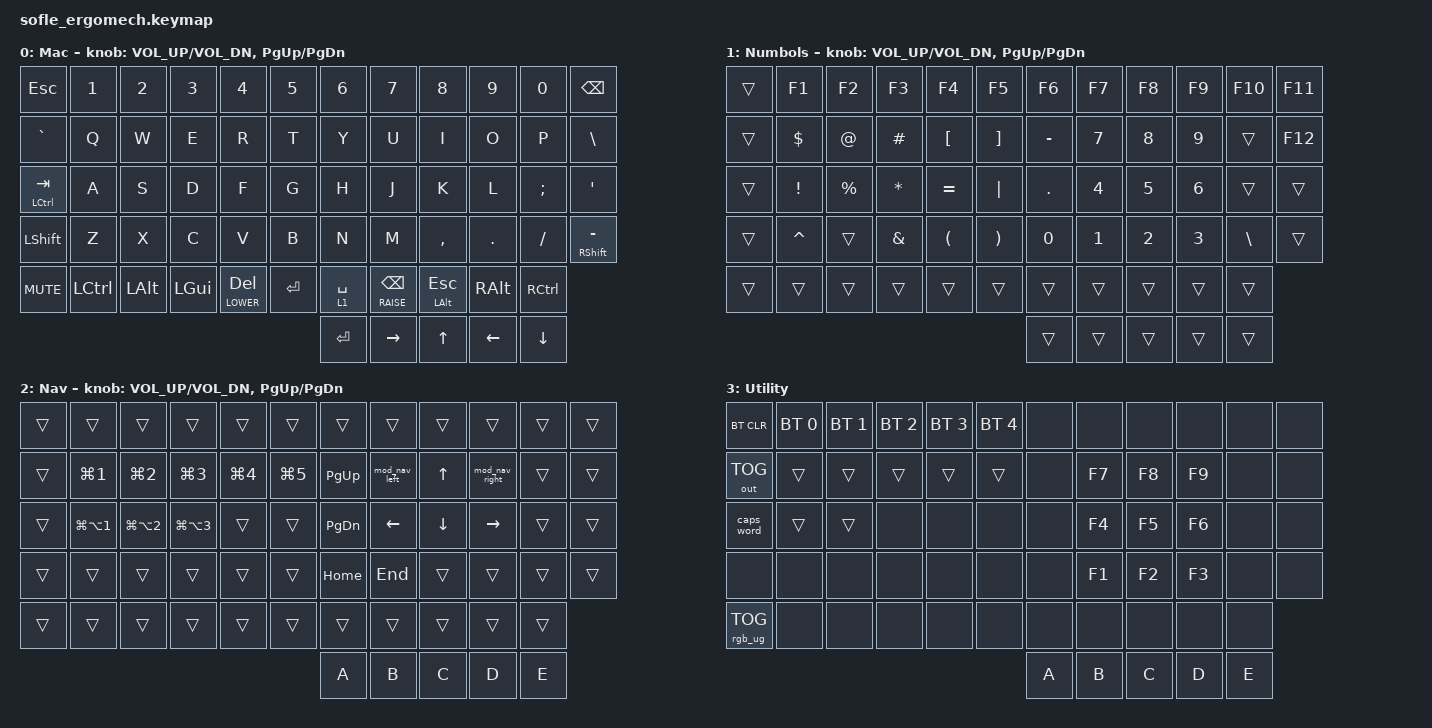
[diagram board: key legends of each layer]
/*
 * Copyright (c) 2020 The ZMK Contributors
 *
 * SPDX-License-Identifier: MIT
 */

#include <behaviors.dtsi>
#include <dt-bindings/zmk/bt.h>
#include <dt-bindings/zmk/keys.h>
#include <dt-bindings/zmk/outputs.h>
#include <dt-bindings/zmk/rgb.h>

#define BASE 0
#define LOWER 1
#define RAISE 2
#define ADJUST 3

/ {
    // Activate ADJUST layer by pressing raise and lower

    conditional_layers {
        compatible = "zmk,conditional-layers";

        adjust_layer {
            if-layers = <LOWER RAISE>;
            then-layer = <ADJUST>;
        };
    };

    behaviors {
        tap_hold: tap_hold {
            compatible = "zmk,behavior-hold-tap";
            label = "TAP_HOLD";
            bindings = <&kp>, <&kp>;

            #binding-cells = <2>;
            tapping-term-ms = <200>;
            flavor = "tap-preferred";
        };

        mod_nav_left: mod_nav_left {
            compatible = "zmk,behavior-mod-morph";
            label = "MOD_NAV_LEFT";
            bindings = <&kp LA(LEFT)>, <&kp LG(LEFT_ARROW)>;

            #binding-cells = <0>;
            mods = <(MOD_LGUI|MOD_RGUI)>;
        };

        mod_nav_right: mod_nav_right {
            compatible = "zmk,behavior-mod-morph";
            label = "MOD_NAV_RIGHT";
            bindings = <&kp LA(RIGHT)>, <&kp LG(RIGHT)>;

            #binding-cells = <0>;
            mods = <(MOD_LGUI|MOD_RGUI)>;
        };

        hold_tap: hold_tap {
            compatible = "zmk,behavior-hold-tap";
            label = "HOLD_TAP";
            bindings = <&kp>, <&kp>;

            #binding-cells = <2>;
            tapping-term-ms = <200>;
        };
    };

    keymap {
        compatible = "zmk,keymap";

        mac {
            label = "Mac";

            // ------------------------------------------------------------------------------------------------------------
            // |   `   |  1  |  2  |  3   |  4   |  5   |                   |  6   |  7    |  8    |  9   |   0   |       |
            // |  ESC  |  Q  |  W  |  E   |  R   |  T   |                   |  Y   |  U    |  I    |  O   |   P   | BKSPC |
            // |  TAB  |  A  |  S  |  D   |  F   |  G   |                   |  H   |  J    |  K    |  L   |   ;   |   '   |
            // | SHIFT |  Z  |  X  |  C   |  V   |  B   |  MUTE  |  |       |  N   |  M    |  ,    |  .   |   /   | SHIFT |
            //               | GUI | ALT  | CTRL | LOWER|  ENTER |  | SPACE | RAISE| CTRL  | ALT   | GUI  |

            bindings = <
&kp ESC                     &kp N1            &kp N2    &kp N3        &kp N4         &kp N5   &kp N6       &kp N7               &kp N8                  &kp N9    &kp N0             &kp BACKSPACE
&kp GRAVE                   &kp Q             &kp W     &kp E         &kp R          &kp T    &kp Y        &kp U                &kp I                   &kp O     &kp P              &kp BACKSLASH
&tap_hold LEFT_CONTROL TAB  &kp A             &kp S     &kp D         &kp F          &kp G    &kp H        &kp J                &kp K                   &kp L     &kp SEMI           &kp SQT
&kp LSHFT                   &kp Z             &kp X     &kp C         &kp V          &kp B    &kp N        &kp M                &kp COMMA               &kp DOT   &kp FSLH           &hold_tap RSHFT MINUS
&kp C_MUTE                  &kp LEFT_CONTROL  &kp LALT  &kp LEFT_GUI  &lt LOWER DEL  &kp RET  &lt 1 SPACE  &lt RAISE BACKSPACE  &tap_hold LEFT_ALT ESC  &kp RALT  &kp RIGHT_CONTROL
                                                                                              &kp ENTER    &kp RIGHT            &kp UP_ARROW            &kp LEFT  &kp DOWN
            >;

            sensor-bindings = <&inc_dec_kp C_VOL_UP C_VOL_DN &inc_dec_kp PG_UP PG_DN>;
        };

        numbols {
            label = "Numbols";

            // TODO: Some binds are waiting for shifted keycode support.
            // ------------------------------------------------------------------------------------------------------------
            // |       |  F1 |  F2 |  F3  |  F4  |  F5  |                   |  F6  |  F7   |  F8   |  F9  |  F10  |  F11  |
            // |   `   |  1  |  2  |  3   |  4   |  5   |                   |  6   |  7    |  8    |  9   |   0   |  F12  |
            // |       |  !  |  @  |  #   |  $   |  %   |                   |  ^   |  &    |  *    |  (   |   )   |   |   |
            // |       |  =  |  -  |  +   |  {   |  }   |        |  |       |  [   |  ]    |  ;    |  :   |   \   |       |
            //               |     |      |      |      |        |  |       |      |       |       |      |

            bindings = <
&trans  &kp F1      &kp F2       &kp F3         &kp F4                &kp F5                 &kp F6      &kp F7  &kp F8  &kp F9  &kp F10   &kp F11
&trans  &kp DOLLAR  &kp AT       &kp POUND      &kp LEFT_BRACKET      &kp RIGHT_BRACKET      &kp MINUS   &kp N7  &kp N8  &kp N9  &trans    &kp F12
&trans  &kp EXCL    &kp PERCENT  &kp ASTRK      &kp EQUAL             &kp PIPE               &kp PERIOD  &kp N4  &kp N5  &kp N6  &trans    &trans
&trans  &kp CARET   &trans       &kp AMPERSAND  &kp LEFT_PARENTHESIS  &kp RIGHT_PARENTHESIS  &kp N0      &kp N1  &kp N2  &kp N3  &kp BSLH  &trans
&trans  &trans      &trans       &trans         &trans                &trans                 &trans      &trans  &trans  &trans  &trans
                                                                                             &trans      &trans  &trans  &trans  &trans
            >;

            sensor-bindings = <&inc_dec_kp C_VOL_UP C_VOL_DN &inc_dec_kp PG_UP PG_DN>;
        };

        nav {
            label = "Nav";

            // ------------------------------------------------------------------------------------------------------------
            // | BTCLR | BT1  | BT2  |  BT3  |  BT4  |  BT5 |                |      |      |       |      |       |       |
            // |       | INS  | PSCR | GUI   |       |      |                | PGUP |      |   ^   |      |       |       |
            // |       | ALT  | CTRL | SHIFT |       | CAPS |                | PGDN |   <- |   v   |  ->  |  DEL  | BKSPC |
            // |       | UNDO | CUT  | COPY  | PASTE |      |      |  |      |      |      |       |      |       |       |
            //                |      |       |       |      |      |  |      |      |      |       |      |

            bindings = <
&trans  &trans                &trans                &trans            &trans            &trans      &trans     &trans         &trans    &trans          &trans  &trans
&trans  &kp LG(NUMBER_1)      &kp LG(NUMBER_2)      &kp LG(NUMBER_3)  &kp LG(NUMBER_4)  &kp LG(N5)  &kp PG_UP  &mod_nav_left  &kp UP    &mod_nav_right  &trans  &trans
&trans  &kp LG(LA(NUMBER_1))  &kp LG(LA(NUMBER_2))  &kp LG(LA(N3))    &trans            &trans      &kp PG_DN  &kp LEFT       &kp DOWN  &kp RIGHT       &trans  &trans
&trans  &trans                &trans                &trans            &trans            &trans      &kp HOME   &kp END        &trans    &trans          &trans  &trans
&trans  &trans                &trans                &trans            &trans            &trans      &trans     &trans         &trans    &trans          &trans
                                                                                                    &kp A      &kp B          &kp C     &kp D           &kp E
            >;

            sensor-bindings = <&inc_dec_kp C_VOL_UP C_VOL_DN &inc_dec_kp PG_UP PG_DN>;
        };

        utility {
            // ----------------------------------------------------------------------------------------------------------------------------
            // | BTCLR  |  BT1    |  BT2    |   BT3   |   BT4   |   BT5   |                  |      |      |       |      |       |       |
            // | EXTPWR | RGB_HUD | RGB_HUI | RGB_SAD | RGB_SAI | RGB_EFF |                  |      |      |       |      |       |       |
            // |        | RGB_BRD | RGB_BRI |         |         |         |                  |      |      |       |      |       |       |
            // |        |         |         |         |         |         | RGB_TOG | |      |      |      |       |      |       |       |
            //                    |         |         |         |         |         | |      |      |      |       |      |

            label = "Utility";
            bindings = <
&bt BT_CLR       &bt BT_SEL 0  &bt BT_SEL 1  &bt BT_SEL 2  &bt BT_SEL 3  &bt BT_SEL 4  &none  &none   &none   &none   &none  &none
&out OUT_TOG     &trans        &trans        &trans        &trans        &trans        &none  &kp F7  &kp F8  &kp F9  &none  &none
&caps_word       &trans        &trans        &none         &none         &none         &none  &kp F4  &kp F5  &kp F6  &none  &none
&none            &none         &none         &none         &none         &none         &none  &kp F1  &kp F2  &kp F3  &none  &none
&rgb_ug RGB_TOG  &none         &none         &none         &none         &none         &none  &none   &none   &none   &none
                                                                                       &kp A  &kp B   &kp C   &kp D   &kp E
            >;
        };
    };
};
